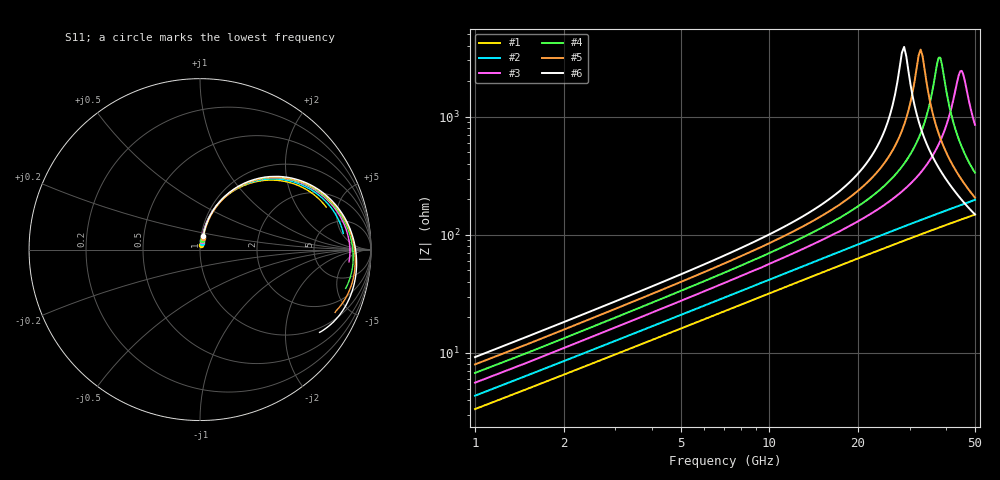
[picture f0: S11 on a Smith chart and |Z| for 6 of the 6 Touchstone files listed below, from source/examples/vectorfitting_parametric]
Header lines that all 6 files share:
! rapidmom parametric dataset (SG13G2 open stack, IHP)
! device = spiral
! family = spiral_N2
! stack = IHP SG13G2 (open PDK)
! sweep = ROM (rational fit from adaptive anchor solves)
! tool = rapidmom (2.5D MoM, A-EFIE)
# HZ S RI R 50
Fixed: width_um = 10, spacing_um = 3, sides = 8, n_ports = 2, f_min_hz = 1.000e+09, f_max_hz = 5.000e+10, N = 2
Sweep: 1 GHz to 50 GHz
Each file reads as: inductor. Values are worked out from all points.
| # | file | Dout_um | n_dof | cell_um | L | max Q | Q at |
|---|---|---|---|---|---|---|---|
| 1 | spiral_D100.s2p | 100 | 4608 | 2.5 | 519 pH | 502 | 48.52 GHz |
| 2 | spiral_D120.s2p | 120 | 3588 | 3.0 | 676 pH | 425 | 41.59 GHz |
| 3 | spiral_D140.s2p | 140 | 3916 | 3.333 | 869 pH | 25.4 | 9.414 GHz |
| 4 | spiral_D160.s2p | 160 | 4553 | 3.333 | 1.05 nH | 24.8 | 8.919 GHz |
| 5 | spiral_D180.s2p | 180 | 5233 | 3.333 | 1.24 nH | 24.7 | 7.929 GHz |
| 6 | spiral_D200.s2p | 200 | 5850 | 3.333 | 1.44 nH | 25.4 | 8.424 GHz |
